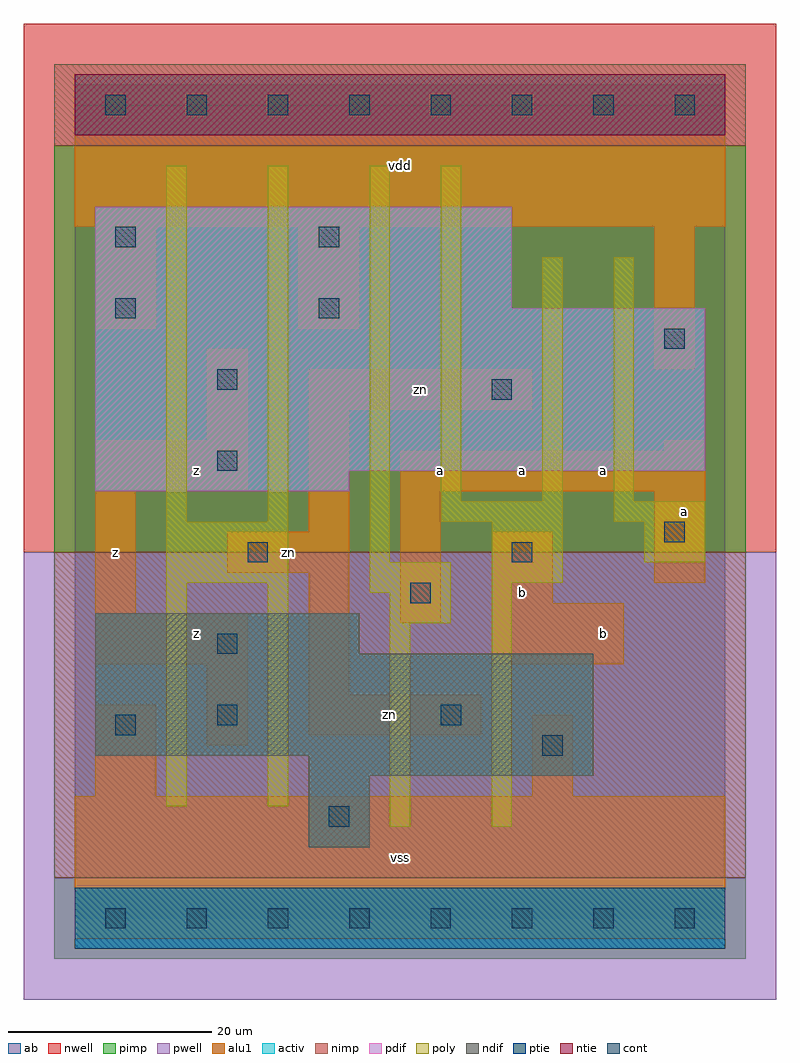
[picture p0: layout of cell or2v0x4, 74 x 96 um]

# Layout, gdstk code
import gdstk
lib = gdstk.Library(unit=1e-6, precision=1e-09)
def R(c, l, rs):  # rectangles x0, y0, x1, y1
    for r in rs: c.add(gdstk.rectangle(r[:2], r[2:], *l))
def A(c, l, x, y, w, h, nx, ny, dx, dy):  # array of equal rectangles
    R(c, l, [(x+i*dx, y+j*dy, x+i*dx+w, y+j*dy+h) for i in range(nx) for j in range(ny)])
ndif = (3, 0)
pdif = (4, 0)
ntie = (5, 0)
ptie = (6, 0)
cont = (25, 0)
pwell = (41, 0)
nwell = (42, 0)
activ = (43, 0)
pimp = (44, 0)
nimp = (45, 0)
poly = (46, 0)
alu1 = (49, 0)
ab = (63, 0)

or2v0x4 = lib.new_cell('or2v0x4')
R(or2v0x4, ndif, [(23,7,29,14), (23,14,51,16), (2,16,51,26), (2,26,28,30)])
R(or2v0x4, pdif, [(2,42,27,44), (2,44,62,60), (2,60,43,70)])
R(or2v0x4, ntie, [(0,77,64,83)])
R(or2v0x4, ptie, [(0,-3,64,3)])
A(or2v0x4, cont, 3, -1, 2, 2, 8, 2, 8, 80)
R(or2v0x4, cont, [(25,9,27,11), (46,16,48,18), (4,18,6,20), (14,19,16,21), (36,19,38,21), (14,26,16,28), (33,31,35,33), (17,35,19,37), (43,35,45,37), (58,37,60,39), (14,44,16,46), (41,51,43,53), (14,52,16,54), (58,56,60,58), (4,59,6,61), (24,59,26,61), (4,66,6,68), (24,66,26,68)])
R(or2v0x4, pwell, [(-5,-8,69,36)])
R(or2v0x4, nwell, [(-5,36,69,88)])
R(or2v0x4, activ, [(0,-3,64,3), (23,7,29,14), (23,14,51,16), (2,16,51,26), (2,26,28,30), (2,42,27,44), (2,44,62,60), (2,60,43,70), (0,77,64,83)])
R(or2v0x4, pimp, [(-2,-4,66,4), (-2,36,66,76)])
R(or2v0x4, nimp, [(-2,4,66,36), (-2,76,66,84)])
R(or2v0x4, poly, [(31,9,33,29), (41,9,43,33), (9,11,11,33), (19,11,21,33), (31,29,37,32), (29,32,37,35), (9,33,21,39), (41,33,48,39), (29,35,31,74), (56,35,62,39), (9,39,11,74), (19,39,21,74), (36,39,48,41), (53,39,62,41), (36,41,38,74), (46,41,48,65), (53,41,55,65)])
R(or2v0x4, alu1, [(0,-2,64,12), (2,12,8,21), (45,12,49,20), (13,17,17,25), (23,18,40,22), (23,22,27,34), (2,25,17,30), (41,25,54,31), (32,29,36,42), (2,30,6,42), (41,31,47,38), (57,33,62,42), (15,34,27,38), (23,38,27,50), (2,42,17,47), (32,42,62,46), (58,46,62,47), (13,47,17,56), (23,50,45,54), (57,54,61,68), (2,58,8,68), (22,58,28,68), (0,68,64,82)])
R(or2v0x4, ab, [(0,0,64,80)])
or2v0x4.add(gdstk.Label('zn', (21,36), layer=49, texttype=0))
or2v0x4.add(gdstk.Label('zn', (31,20), layer=49, texttype=0))
or2v0x4.add(gdstk.Label('zn', (34,52), layer=49, texttype=0))
or2v0x4.add(gdstk.Label('z', (4,36), layer=49, texttype=0))
or2v0x4.add(gdstk.Label('z', (12,28), layer=49, texttype=0))
or2v0x4.add(gdstk.Label('z', (12,44), layer=49, texttype=0))
or2v0x4.add(gdstk.Label('vss', (32,6), layer=49, texttype=0))
or2v0x4.add(gdstk.Label('b', (44,32), layer=49, texttype=0))
or2v0x4.add(gdstk.Label('a', (44,44), layer=49, texttype=0))
or2v0x4.add(gdstk.Label('a', (36,44), layer=49, texttype=0))
or2v0x4.add(gdstk.Label('vdd', (32,74), layer=49, texttype=0))
or2v0x4.add(gdstk.Label('b', (52,28), layer=49, texttype=0))
or2v0x4.add(gdstk.Label('a', (60,40), layer=49, texttype=0))
or2v0x4.add(gdstk.Label('a', (52,44), layer=49, texttype=0))

lib.write_gds('or2v0x4.gds')
